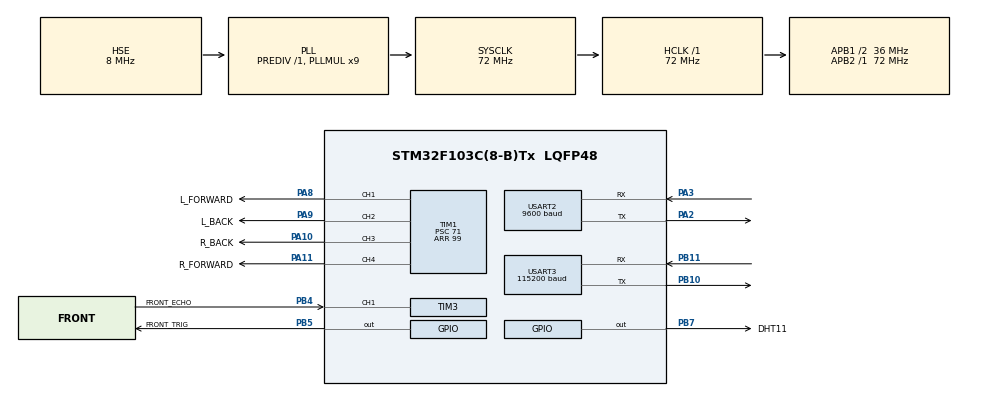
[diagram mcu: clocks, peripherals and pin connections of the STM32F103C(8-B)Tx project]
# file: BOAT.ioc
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Dma.Request0=USART3_TX
Dma.USART3_TX.0.Direction=DMA_MEMORY_TO_PERIPH
Dma.USART3_TX.0.Instance=DMA1_Channel2
Dma.USART3_TX.0.MemDataAlignment=DMA_MDATAALIGN_BYTE
Dma.USART3_TX.0.MemInc=DMA_MINC_ENABLE
Dma.USART3_TX.0.Mode=DMA_NORMAL
Dma.USART3_TX.0.PeriphDataAlignment=DMA_PDATAALIGN_BYTE
Dma.USART3_TX.0.PeriphInc=DMA_PINC_DISABLE
Dma.USART3_TX.0.Priority=DMA_PRIORITY_LOW
Mcu.Family=STM32F1
Mcu.Name=STM32F103C(8-B)Tx
Mcu.Package=LQFP48
NVIC.DMA1_Channel2_IRQn=true\:0\:0\:false\:false\:true\:false\:true\:true
NVIC.PriorityGroup=NVIC_PRIORITYGROUP_4
NVIC.TIM2_IRQn=true\:0\:0\:true\:false\:true\:true\:true\:true
NVIC.TIM3_IRQn=true\:0\:0\:true\:false\:true\:true\:true\:true
NVIC.TIM4_IRQn=true\:0\:0\:true\:false\:true\:true\:true\:true
NVIC.USART2_IRQn=true\:0\:0\:true\:false\:true\:true\:true\:true
NVIC.USART3_IRQn=true\:0\:0\:true\:false\:true\:true\:true\:true
PA10.GPIO_Label=R_BACK
PA10.Signal=S_TIM1_CH3
PA11.GPIO_Label=R_FORWARD
PA11.Signal=S_TIM1_CH4
PA13.Mode=Serial_Wire
PA13.Signal=SYS_JTMS-SWDIO
PA14.Mode=Serial_Wire
PA14.Signal=SYS_JTCK-SWCLK
PA2.Mode=Asynchronous
PA2.Signal=USART2_TX
PA3.Mode=Asynchronous
PA3.Signal=USART2_RX
PA8.GPIO_Label=L_FORWARD
PA8.Signal=S_TIM1_CH1
PA9.GPIO_Label=L_BACK
PA9.Signal=S_TIM1_CH2
PB10.Mode=Asynchronous
PB10.Signal=USART3_TX
PB11.Mode=Asynchronous
PB11.Signal=USART3_RX
PB4.GPIO_Label=FRONT_ECHO
PB4.Signal=S_TIM3_CH1
PB5.GPIO_Label=FRONT_TRIG
PB5.GPIO_ModeDefaultOutputPP=GPIO_MODE_OUTPUT_PP
PB5.GPIO_PuPd=GPIO_PULLDOWN
PB5.Signal=GPIO_Output
PB7.GPIO_Label=DHT11
PB7.GPIO_PuPd=GPIO_NOPULL
PB7.PinState=GPIO_PIN_RESET
PB7.Signal=GPIO_Output
PD0-OSC_IN.Mode=HSE-External-Oscillator
PD0-OSC_IN.Signal=RCC_OSC_IN
PD1-OSC_OUT.Mode=HSE-External-Oscillator
PD1-OSC_OUT.Signal=RCC_OSC_OUT
ProjectManager.HeapSize=0x200
ProjectManager.StackSize=0x400
ProjectManager.TargetToolchain=MDK-ARM V5.32
RCC.ADCPresc=RCC_ADCPCLK2_DIV6
RCC.AHBFreq_Value=72000000
RCC.APB1CLKDivider=RCC_HCLK_DIV2
RCC.APB1Freq_Value=36000000
RCC.APB1TimFreq_Value=72000000
RCC.APB2Freq_Value=72000000
RCC.APB2TimFreq_Value=72000000
RCC.HCLKFreq_Value=72000000
RCC.PLLMUL=RCC_PLL_MUL9
RCC.PLLSourceVirtual=RCC_PLLSOURCE_HSE
RCC.SYSCLKFreq_VALUE=72000000
RCC.SYSCLKSource=RCC_SYSCLKSOURCE_PLLCLK
RCC.USBFreq_Value=72000000
SH.S_TIM1_CH1.0=TIM1_CH1,PWM Generation1 CH1
SH.S_TIM1_CH2.0=TIM1_CH2,PWM Generation2 CH2
SH.S_TIM1_CH3.0=TIM1_CH3,PWM Generation3 CH3
SH.S_TIM1_CH4.0=TIM1_CH4,PWM Generation4 CH4
SH.S_TIM3_CH1.0=TIM3_CH1,Input_Capture1_from_TI1
TIM1.Channel-PWM\ Generation1\ CH1=TIM_CHANNEL_1
TIM1.Channel-PWM\ Generation2\ CH2=TIM_CHANNEL_2
TIM1.Channel-PWM\ Generation3\ CH3=TIM_CHANNEL_3
TIM1.Channel-PWM\ Generation4\ CH4=TIM_CHANNEL_4
TIM1.OCMode_PWM-PWM\ Generation1\ CH1=TIM_OCMODE_PWM1
TIM1.OCMode_PWM-PWM\ Generation2\ CH2=TIM_OCMODE_PWM1
TIM1.OCMode_PWM-PWM\ Generation3\ CH3=TIM_OCMODE_PWM1
TIM1.OCMode_PWM-PWM\ Generation4\ CH4=TIM_OCMODE_PWM1
TIM1.Period=99
TIM1.Prescaler=71
TIM2.Prescaler=71
TIM3.AutoReloadPreload=TIM_AUTORELOAD_PRELOAD_ENABLE
TIM3.Channel-Input_Capture1_from_TI1=TIM_CHANNEL_1
TIM3.Period=65535
TIM3.Prescaler=71
TIM4.AutoReloadPreload=TIM_AUTORELOAD_PRELOAD_ENABLE
TIM4.Prescaler=71
USART2.BaudRate=9600
USART2.VirtualMode=VM_ASYNC
USART3.BaudRate=115200
USART3.VirtualMode=VM_ASYNC
VP_TIM1_VS_ClockSourceINT.Mode=Internal
VP_TIM2_VS_ClockSourceINT.Mode=Internal
VP_TIM3_VS_ClockSourceINT.Mode=Internal
VP_TIM4_VS_ClockSourceINT.Mode=Internal
board=custom

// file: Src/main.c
/* USER CODE BEGIN Header */
/**
  ******************************************************************************
  * @file           : main.c
  * @brief          : Main program body
  ******************************************************************************
  * @attention
  *
  * Copyright (c) 2023 STMicroelectronics.
  * All rights reserved.
  *
  * This software is licensed under terms that can be found in the LICENSE file
  * in the root directory of this software component.
  * If no LICENSE file comes with this software, it is provided AS-IS.
  *
  ******************************************************************************
  */
/* USER CODE END Header */
#include "main.h"

/* USER CODE BEGIN Includes */
#include "ATGM336H.h"
#include "DHT11.h"
#include "HC_SR04.h"
/* USER CODE END Includes */

TIM_HandleTypeDef htim1;
TIM_HandleTypeDef htim2;
TIM_HandleTypeDef htim3;
TIM_HandleTypeDef htim4;

uint8_t count;
UART_HandleTypeDef huart2;
UART_HandleTypeDef huart3;
DMA_HandleTypeDef hdma_usart3_tx;

/* USER CODE BEGIN PV */
uint8_t Buffer[2];
uint8_t send_buf[32];
/* USER CODE END PV */

void SystemClock_Config(void);
static void MX_GPIO_Init(void);
static void MX_DMA_Init(void);
static void MX_TIM3_Init(void);
static void MX_TIM4_Init(void);
static void MX_TIM1_Init(void);
static void MX_USART3_UART_Init(void);
static void MX_USART2_UART_Init(void);
static void MX_TIM2_Init(void);

int main(void)
{

  /* MCU Configuration--------------------------------------------------------*/

  /* Reset of all peripherals, Initializes the Flash interface and the Systick. */
  HAL_Init();

  /* Configure the system clock */
  SystemClock_Config();

  /* Initialize all configured peripherals */
  MX_GPIO_Init();
  MX_DMA_Init();
  MX_TIM3_Init();
  MX_TIM4_Init();
  MX_TIM1_Init();
  MX_USART3_UART_Init();
  MX_USART2_UART_Init();
  MX_TIM2_Init();
  /* USER CODE BEGIN 2 */
	HAL_TIM_Base_Start_IT(&htim2);
	HAL_TIM_Base_Start_IT(&htim3);
  HAL_UART_Receive_IT(&huart3,Buffer,2);
	uint8_t Rec;
	HAL_UART_Receive_IT(&huart2, &Rec, 1);
	HAL_TIM_PWM_Start(&htim1, TIM_CHANNEL_1);	    // TIM1_CH1(pwm)
	HAL_TIM_PWM_Start(&htim1, TIM_CHANNEL_2);	    // TIM1_CH1(pwm)
	HAL_TIM_PWM_Start(&htim1, TIM_CHANNEL_3);	    // TIM1_CH1(pwm)
	HAL_TIM_PWM_Start(&htim1, TIM_CHANNEL_4);	    // TIM1_CH1(pwm)
	HAL_Delay(1000);           //★这里的延迟务必加上，这是为了等待DHT11信号稳定，一定要加！！！
  /* USER CODE END 2 */

  /* Infinite loop */
  while (1)
  {

    /* USER CODE BEGIN 3 */
		//RTC_display();		//RTC显示函数
		DHT11();
		ParseGps();
		printGpsBuffer();
		memcpy(&send_buf, dht11_send_data, 5);
		memcpy(&send_buf[5], Front_Show_STR, 4);
		memcpy(&send_buf[9], dest, 23);
		Get_Front_Dis();
		get_dis_str();
		count++;
		if( count == 5){
			HAL_UART_Transmit_DMA(&huart3,send_buf,32);
			count = 0;
		}
  }
  /* USER CODE END 3 */
}

void SystemClock_Config(void)
{
  RCC_OscInitTypeDef RCC_OscInitStruct = {0};
  RCC_ClkInitTypeDef RCC_ClkInitStruct = {0};

  /** Initializes the RCC Oscillators according to the specified parameters
  * in the RCC_OscInitTypeDef structure.
  */
  RCC_OscInitStruct.OscillatorType = RCC_OSCILLATORTYPE_HSE;
  RCC_OscInitStruct.HSEState = RCC_HSE_ON;
  RCC_OscInitStruct.HSEPredivValue = RCC_HSE_PREDIV_DIV1;
  RCC_OscInitStruct.HSIState = RCC_HSI_ON;
  RCC_OscInitStruct.PLL.PLLState = RCC_PLL_ON;
  RCC_OscInitStruct.PLL.PLLSource = RCC_PLLSOURCE_HSE;
  RCC_OscInitStruct.PLL.PLLMUL = RCC_PLL_MUL9;
  if (HAL_RCC_OscConfig(&RCC_OscInitStruct) != HAL_OK)
  {
    Error_Handler();
  }

  /** Initializes the CPU, AHB and APB buses clocks
  */
  RCC_ClkInitStruct.ClockType = RCC_CLOCKTYPE_HCLK|RCC_CLOCKTYPE_SYSCLK
                              |RCC_CLOCKTYPE_PCLK1|RCC_CLOCKTYPE_PCLK2;
  RCC_ClkInitStruct.SYSCLKSource = RCC_SYSCLKSOURCE_PLLCLK;
  RCC_ClkInitStruct.AHBCLKDivider = RCC_SYSCLK_DIV1;
  RCC_ClkInitStruct.APB1CLKDivider = RCC_HCLK_DIV2;
  RCC_ClkInitStruct.APB2CLKDivider = RCC_HCLK_DIV1;

  if (HAL_RCC_ClockConfig(&RCC_ClkInitStruct, FLASH_LATENCY_2) != HAL_OK)
  {
    Error_Handler();
  }
}

static void MX_TIM1_Init(void)
{

  TIM_ClockConfigTypeDef sClockSourceConfig = {0};
  TIM_MasterConfigTypeDef sMasterConfig = {0};
  TIM_OC_InitTypeDef sConfigOC = {0};
  TIM_BreakDeadTimeConfigTypeDef sBreakDeadTimeConfig = {0};

  htim1.Instance = TIM1;
  htim1.Init.Prescaler = 71;
  htim1.Init.CounterMode = TIM_COUNTERMODE_UP;
  htim1.Init.Period = 99;
  htim1.Init.ClockDivision = TIM_CLOCKDIVISION_DIV1;
  htim1.Init.RepetitionCounter = 0;
  htim1.Init.AutoReloadPreload = TIM_AUTORELOAD_PRELOAD_DISABLE;
  if (HAL_TIM_Base_Init(&htim1) != HAL_OK)
  {
    Error_Handler();
  }
  sClockSourceConfig.ClockSource = TIM_CLOCKSOURCE_INTERNAL;
  if (HAL_TIM_ConfigClockSource(&htim1, &sClockSourceConfig) != HAL_OK)
  {
    Error_Handler();
  }
  if (HAL_TIM_PWM_Init(&htim1) != HAL_OK)
  {
    Error_Handler();
  }
  sMasterConfig.MasterOutputTrigger = TIM_TRGO_RESET;
  sMasterConfig.MasterSlaveMode = TIM_MASTERSLAVEMODE_DISABLE;
  if (HAL_TIMEx_MasterConfigSynchronization(&htim1, &sMasterConfig) != HAL_OK)
  {
    Error_Handler();
  }
  sConfigOC.OCMode = TIM_OCMODE_PWM1;
  sConfigOC.Pulse = 0;
  sConfigOC.OCPolarity = TIM_OCPOLARITY_HIGH;
  sConfigOC.OCNPolarity = TIM_OCNPOLARITY_HIGH;
  sConfigOC.OCFastMode = TIM_OCFAST_DISABLE;
  sConfigOC.OCIdleState = TIM_OCIDLESTATE_RESET;
  sConfigOC.OCNIdleState = TIM_OCNIDLESTATE_RESET;
  if (HAL_TIM_PWM_ConfigChannel(&htim1, &sConfigOC, TIM_CHANNEL_1) != HAL_OK)
  {
    Error_Handler();
  }
  if (HAL_TIM_PWM_ConfigChannel(&htim1, &sConfigOC, TIM_CHANNEL_2) != HAL_OK)
  {
    Error_Handler();
  }
  if (HAL_TIM_PWM_ConfigChannel(&htim1, &sConfigOC, TIM_CHANNEL_3) != HAL_OK)
  {
    Error_Handler();
  }
  if (HAL_TIM_PWM_ConfigChannel(&htim1, &sConfigOC, TIM_CHANNEL_4) != HAL_OK)
  {
    Error_Handler();
  }
  sBreakDeadTimeConfig.OffStateRunMode = TIM_OSSR_DISABLE;
  sBreakDeadTimeConfig.OffStateIDLEMode = TIM_OSSI_DISABLE;
  sBreakDeadTimeConfig.LockLevel = TIM_LOCKLEVEL_OFF;
  sBreakDeadTimeConfig.DeadTime = 0;
  sBreakDeadTimeConfig.BreakState = TIM_BREAK_DISABLE;
  sBreakDeadTimeConfig.BreakPolarity = TIM_BREAKPOLARITY_HIGH;
  sBreakDeadTimeConfig.AutomaticOutput = TIM_AUTOMATICOUTPUT_DISABLE;
  if (HAL_TIMEx_ConfigBreakDeadTime(&htim1, &sBreakDeadTimeConfig) != HAL_OK)
  {
    Error_Handler();
  }
  HAL_TIM_MspPostInit(&htim1);

}

static void MX_TIM2_Init(void)
{

  TIM_ClockConfigTypeDef sClockSourceConfig = {0};
  TIM_MasterConfigTypeDef sMasterConfig = {0};

  htim2.Instance = TIM2;
  htim2.Init.Prescaler = 71;
  htim2.Init.CounterMode = TIM_COUNTERMODE_UP;
  htim2.Init.Period = 65535;
  htim2.Init.ClockDivision = TIM_CLOCKDIVISION_DIV1;
  htim2.Init.AutoReloadPreload = TIM_AUTORELOAD_PRELOAD_DISABLE;
  if (HAL_TIM_Base_Init(&htim2) != HAL_OK)
  {
    Error_Handler();
  }
  sClockSourceConfig.ClockSource = TIM_CLOCKSOURCE_INTERNAL;
  if (HAL_TIM_ConfigClockSource(&htim2, &sClockSourceConfig) != HAL_OK)
  {
    Error_Handler();
  }
  sMasterConfig.MasterOutputTrigger = TIM_TRGO_RESET;
  sMasterConfig.MasterSlaveMode = TIM_MASTERSLAVEMODE_DISABLE;
  if (HAL_TIMEx_MasterConfigSynchronization(&htim2, &sMasterConfig) != HAL_OK)
  {
    Error_Handler();
  }

}

static void MX_TIM3_Init(void)
{

  TIM_ClockConfigTypeDef sClockSourceConfig = {0};
  TIM_MasterConfigTypeDef sMasterConfig = {0};
  TIM_IC_InitTypeDef sConfigIC = {0};

  htim3.Instance = TIM3;
  htim3.Init.Prescaler = 71;
  htim3.Init.CounterMode = TIM_COUNTERMODE_UP;
  htim3.Init.Period = 65535;
  htim3.Init.ClockDivision = TIM_CLOCKDIVISION_DIV1;
  htim3.Init.AutoReloadPreload = TIM_AUTORELOAD_PRELOAD_ENABLE;
  if (HAL_TIM_Base_Init(&htim3) != HAL_OK)
  {
    Error_Handler();
  }
  sClockSourceConfig.ClockSource = TIM_CLOCKSOURCE_INTERNAL;
  if (HAL_TIM_ConfigClockSource(&htim3, &sClockSourceConfig) != HAL_OK)
  {
    Error_Handler();
  }
  if (HAL_TIM_IC_Init(&htim3) != HAL_OK)
  {
    Error_Handler();
  }
  sMasterConfig.MasterOutputTrigger = TIM_TRGO_RESET;
  sMasterConfig.MasterSlaveMode = TIM_MASTERSLAVEMODE_DISABLE;
  if (HAL_TIMEx_MasterConfigSynchronization(&htim3, &sMasterConfig) != HAL_OK)
  {
    Error_Handler();
  }
  sConfigIC.ICPolarity = TIM_INPUTCHANNELPOLARITY_RISING;
  sConfigIC.ICSelection = TIM_ICSELECTION_DIRECTTI;
  sConfigIC.ICPrescaler = TIM_ICPSC_DIV1;
  sConfigIC.ICFilter = 0;
  if (HAL_TIM_IC_ConfigChannel(&htim3, &sConfigIC, TIM_CHANNEL_1) != HAL_OK)
  {
    Error_Handler();
  }

}

static void MX_TIM4_Init(void)
{

  TIM_ClockConfigTypeDef sClockSourceConfig = {0};
  TIM_MasterConfigTypeDef sMasterConfig = {0};

  htim4.Instance = TIM4;
  htim4.Init.Prescaler = 71;
  htim4.Init.CounterMode = TIM_COUNTERMODE_UP;
  htim4.Init.Period = 65535;
  htim4.Init.ClockDivision = TIM_CLOCKDIVISION_DIV1;
  htim4.Init.AutoReloadPreload = TIM_AUTORELOAD_PRELOAD_ENABLE;
  if (HAL_TIM_Base_Init(&htim4) != HAL_OK)
  {
    Error_Handler();
  }
  sClockSourceConfig.ClockSource = TIM_CLOCKSOURCE_INTERNAL;
  if (HAL_TIM_ConfigClockSource(&htim4, &sClockSourceConfig) != HAL_OK)
  {
    Error_Handler();
  }
  sMasterConfig.MasterOutputTrigger = TIM_TRGO_RESET;
  sMasterConfig.MasterSlaveMode = TIM_MASTERSLAVEMODE_DISABLE;
  if (HAL_TIMEx_MasterConfigSynchronization(&htim4, &sMasterConfig) != HAL_OK)
  {
    Error_Handler();
  }

}

static void MX_USART2_UART_Init(void)
{

  huart2.Instance = USART2;
  huart2.Init.BaudRate = 9600;
  huart2.Init.WordLength = UART_WORDLENGTH_8B;
  huart2.Init.StopBits = UART_STOPBITS_1;
  huart2.Init.Parity = UART_PARITY_NONE;
  huart2.Init.Mode = UART_MODE_TX_RX;
  huart2.Init.HwFlowCtl = UART_HWCONTROL_NONE;
  huart2.Init.OverSampling = UART_OVERSAMPLING_16;
  if (HAL_UART_Init(&huart2) != HAL_OK)
  {
    Error_Handler();
  }

}

static void MX_USART3_UART_Init(void)
{

  huart3.Instance = USART3;
  huart3.Init.BaudRate = 115200;
  huart3.Init.WordLength = UART_WORDLENGTH_8B;
  huart3.Init.StopBits = UART_STOPBITS_1;
  huart3.Init.Parity = UART_PARITY_NONE;
  huart3.Init.Mode = UART_MODE_TX_RX;
  huart3.Init.HwFlowCtl = UART_HWCONTROL_NONE;
  huart3.Init.OverSampling = UART_OVERSAMPLING_16;
  if (HAL_UART_Init(&huart3) != HAL_OK)
  {
    Error_Handler();
  }

}

static void MX_DMA_Init(void)
{

  /* DMA controller clock enable */
  __HAL_RCC_DMA1_CLK_ENABLE();

  /* DMA interrupt init */
  /* DMA1_Channel2_IRQn interrupt configuration */
  HAL_NVIC_SetPriority(DMA1_Channel2_IRQn, 0, 0);
  HAL_NVIC_EnableIRQ(DMA1_Channel2_IRQn);

}

static void MX_GPIO_Init(void)
{
  GPIO_InitTypeDef GPIO_InitStruct = {0};

  /* GPIO Ports Clock Enable */
  __HAL_RCC_GPIOD_CLK_ENABLE();
  __HAL_RCC_GPIOA_CLK_ENABLE();
  __HAL_RCC_GPIOB_CLK_ENABLE();

  /*Configure GPIO pin Output Level */
  HAL_GPIO_WritePin(GPIOB, FRONT_TRIG_Pin|DHT11_Pin, GPIO_PIN_RESET);

  /*Configure GPIO pin : FRONT_TRIG_Pin */
  GPIO_InitStruct.Pin = FRONT_TRIG_Pin;
  GPIO_InitStruct.Mode = GPIO_MODE_OUTPUT_PP;
  GPIO_InitStruct.Pull = GPIO_PULLDOWN;
  GPIO_InitStruct.Speed = GPIO_SPEED_FREQ_LOW;
  HAL_GPIO_Init(FRONT_TRIG_GPIO_Port, &GPIO_InitStruct);

  /*Configure GPIO pin : DHT11_Pin */
  GPIO_InitStruct.Pin = DHT11_Pin;
  GPIO_InitStruct.Mode = GPIO_MODE_OUTPUT_PP;
  GPIO_InitStruct.Pull = GPIO_NOPULL;
  GPIO_InitStruct.Speed = GPIO_SPEED_FREQ_LOW;
  HAL_GPIO_Init(DHT11_GPIO_Port, &GPIO_InitStruct);

}

/* USER CODE BEGIN 4 */
unsigned int DataIndex = 0;
unsigned char receive;
void HAL_UART_RxCpltCallback(UART_HandleTypeDef *huart){

    //重新使能串口接收中断

		if( receive == '$')
			DataIndex = 0;

		USART_RX_BUF[DataIndex++] = receive;

		if(USART_RX_BUF[0] == '$' && USART_RX_BUF[4] == 'M' && USART_RX_BUF[5] == 'C')
		{
				if( receive == '\n' ){
					memset(GNRMC_Info.GPS_Buffer, 0, GPS_Buffer_Length);      //清空
					memcpy(GNRMC_Info.GPS_Buffer, USART_RX_BUF, DataIndex); 	//保存数据
					GNRMC_Info.isGetData = true;
					DataIndex = 0;
					memset(USART_RX_BUF, 0, USART_REC_LEN);      //清空
				}
		}
		HAL_UART_Receive_IT(&huart2, &receive, 1);
		HAL_UART_Receive_IT(&huart3,Buffer,2);
}
/* USER CODE END 4 */

void Error_Handler(void)
{
  __disable_irq();
  while (1)
  {
  }
}
